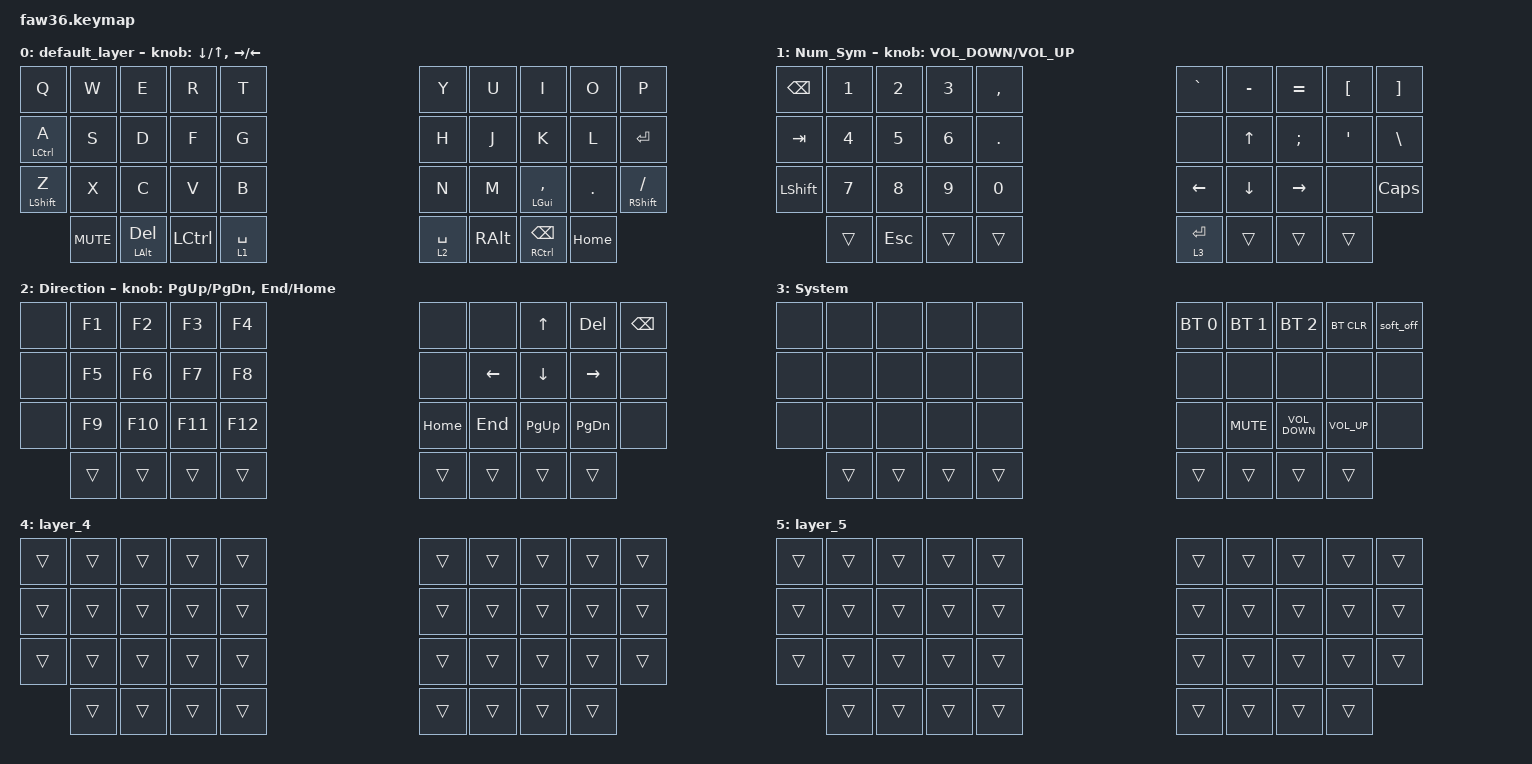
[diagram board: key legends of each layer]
/*
 * Copyright (c) 2020 The ZMK Contributors
 *
 * SPDX-License-Identifier: MIT
 */

#include <behaviors.dtsi>
#include <dt-bindings/zmk/bt.h>
#include <dt-bindings/zmk/keys.h>

#define QWERTY 0
#define NUM 1
#define SYM 2
#define ARROWS 3
#define MEDIA 4
#define NAV 5

&mt {
    bindings = <&kp>, <&kp>;

    tapping-term-ms = <200>;
    flavor = "balanced";
    require-prior-idle-ms = <150>;
    quick-tap-ms = <150>;
};

/ {
    combos {
        compatible = "zmk,combos";

        esc {
            bindings = <&kp ESCAPE>;
            key-positions = <0 1>;
        };

        UPA {
            bindings = <&kp UP_ARROW>;
            key-positions = <1 2>;
        };

        LEFTA {
            bindings = <&kp LEFT>;
            key-positions = <10 11>;
        };

        RIGHTA {
            bindings = <&kp RIGHT>;
            key-positions = <11 12>;
        };

        DOWNA {
            bindings = <&kp DOWN>;
            key-positions = <21 22>;
        };

        BS {
            bindings = <&kp BACKSPACE>;
            key-positions = <8 9>;
        };

        DELETEA {
            bindings = <&kp DELETE>;
            key-positions = <7 8>;
        };
    };

    keymap {
        compatible = "zmk,keymap";

        default_layer {
            bindings = <
&kp Q               &kp W       &kp E                &kp R             &kp T        &kp Y        &kp U          &kp I                        &kp O     &kp P
&mt LEFT_CONTROL A  &kp S       &kp D                &kp F             &kp G        &kp H        &kp J          &kp K                        &kp L     &kp ENTER
&mt LEFT_SHIFT Z    &kp X       &kp C                &kp V             &kp B        &kp N        &kp M          &mt LEFT_GUI COMMA           &kp DOT   &mt RIGHT_SHIFT SLASH
                    &kp C_MUTE  &mt LEFT_ALT DELETE  &kp LEFT_CONTROL  &lt 1 SPACE  &lt 2 SPACE  &kp RIGHT_ALT  &mt RIGHT_CONTROL BACKSPACE  &kp HOME
            >;

            sensor-bindings =
                <&inc_dec_kp DOWN_ARROW UP_ARROW>,
                <&inc_dec_kp RIGHT LEFT>;
        };

        Num_Sym {
            bindings = <
&kp BSPC   &kp NUMBER_1  &kp NUMBER_2  &kp NUMBER_3  &kp COMMA  &kp GRAVE    &kp MINUS  &kp EQUAL  &kp LBKT  &kp RBKT
&kp TAB    &kp N4        &kp N5        &kp N6        &kp DOT    &none        &kp UP     &kp SEMI   &kp APOS  &kp BSLH
&kp LSHFT  &kp N7        &kp N8        &kp N9        &kp N0     &kp LEFT     &kp DOWN   &kp RIGHT  &none     &kp CAPSLOCK
           &trans        &kp ESC       &trans        &trans     &lt 3 ENTER  &trans     &trans     &trans
            >;

            sensor-bindings = <&inc_dec_kp C_VOLUME_DOWN C_VOLUME_UP>;
        };

        Direction {
            bindings = <
&none  &kp F1  &kp F2   &kp F3   &kp F4   &none     &none     &kp UP       &kp DELETE     &kp BSPC
&none  &kp F5  &kp F6   &kp F7   &kp F8   &none     &kp LEFT  &kp DOWN     &kp RIGHT      &none
&none  &kp F9  &kp F10  &kp F11  &kp F12  &kp HOME  &kp END   &kp PAGE_UP  &kp PAGE_DOWN  &none
       &trans  &trans   &trans   &trans   &trans    &trans    &trans       &trans
            >;

            sensor-bindings =
                <&inc_dec_kp PAGE_UP PAGE_DOWN>,
                <&inc_dec_kp END HOME>;
        };

        System {
            bindings = <
&none  &none   &none   &none   &none   &bt BT_SEL 0  &bt BT_SEL 1  &bt BT_SEL 2       &bt BT_CLR       &soft_off
&none  &none   &none   &none   &none   &none         &none         &none              &none            &none
&none  &none   &none   &none   &none   &none         &kp C_MUTE    &kp C_VOLUME_DOWN  &kp C_VOLUME_UP  &none
       &trans  &trans  &trans  &trans  &trans        &trans        &trans             &trans
            >;
        };

        layer_4 {
            bindings = <
&trans  &trans  &trans  &trans  &trans  &trans  &trans  &trans  &trans  &trans
&trans  &trans  &trans  &trans  &trans  &trans  &trans  &trans  &trans  &trans
&trans  &trans  &trans  &trans  &trans  &trans  &trans  &trans  &trans  &trans
        &trans  &trans  &trans  &trans  &trans  &trans  &trans  &trans
            >;
        };

        layer_5 {
            bindings = <
&trans  &trans  &trans  &trans  &trans  &trans  &trans  &trans  &trans  &trans
&trans  &trans  &trans  &trans  &trans  &trans  &trans  &trans  &trans  &trans
&trans  &trans  &trans  &trans  &trans  &trans  &trans  &trans  &trans  &trans
        &trans  &trans  &trans  &trans  &trans  &trans  &trans  &trans
            >;
        };
    };
};
